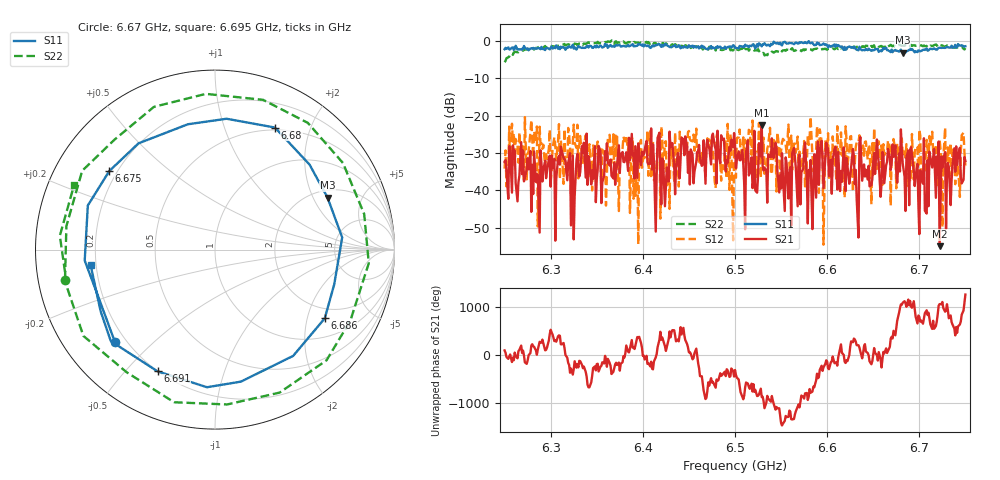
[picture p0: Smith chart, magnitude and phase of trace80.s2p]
# Hz S RI R 50
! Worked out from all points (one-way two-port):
!   401 points, 6.25 GHz to 6.75 GHz, reference 50 ohm
!   highest |S21| = -22.51 dB at 6.529 GHz (marker M1); lowest = -54.9 dB at 6.722 GHz (marker M2)
!   lowest |S11| = -3.2 dB at 6.682 GHz (marker M3), VSWR 5.47, Z = 117 + j130 ohm
!   |S11| at or under -10 dB: nowhere
!   |S22| runs from -5.8 to 0.0 dB; largest |S21 - S12| = 0.12
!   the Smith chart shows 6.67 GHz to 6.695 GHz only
!   S11 on the Smith chart (normalised r, x): 6.67 GHz: 0.16, -0.38; 6.675 GHz: 0.17, +0.32; 6.68 GHz: 0.47, +1.50; 6.686 GHz: 1.61, -2.57; 6.691 GHz: 0.20, -0.62; 6.695 GHz: 0.18, -0.06
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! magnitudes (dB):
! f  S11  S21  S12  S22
! 6.25 GHz  -2.3  -32.3  -34.2  -5.8
! 6.258 GHz  -1.9  -40.6  -22.2  -3.5
! 6.314 GHz  -1.7  -31.5  -38.2  -1.0
! 6.325 GHz  -2.1  -53.1  -22.4  -1.2
! 6.334 GHz  -2.0  -28.1  -30.7  -0.6
! 6.358 GHz  -1.6  -36.1  -30.7  -0.5
! 6.38 GHz  -1.4  -32.4  -26.7  -0.6
! 6.392 GHz  -1.5  -28.2  -41.4  -0.5
! 6.418 GHz  -0.9  -24.6  -25.0  -0.8
! 6.5 GHz  -2.0  -27.6  -29.4  -1.9
! 6.529 GHz  -1.5  -22.5  -26.1  -3.5
! 6.584 GHz  -0.5  -50.3  -30.7  -2.6
! 6.668 GHz  -2.9  -31.3  -28.3  -1.3
! 6.67 GHz  -2.4  -32.5  -28.7  -1.4
! 6.675 GHz  -2.7  -34.8  -39.4  -1.3
! 6.68 GHz  -2.4  -23.7  -27.0  -1.3
! 6.682 GHz  -3.2  -32.8  -30.4  -1.3
! 6.686 GHz  -2.8  -31.2  -27.6  -1.2
! 6.691 GHz  -2.5  -28.5  -36.0  -1.1
! 6.695 GHz  -3.1  -38.8  -29.9  -1.3
! 6.722 GHz  -1.9  -54.9  -26.3  -1.2
! 6.75 GHz  -1.5  -32.1  -33.4  -2.0
